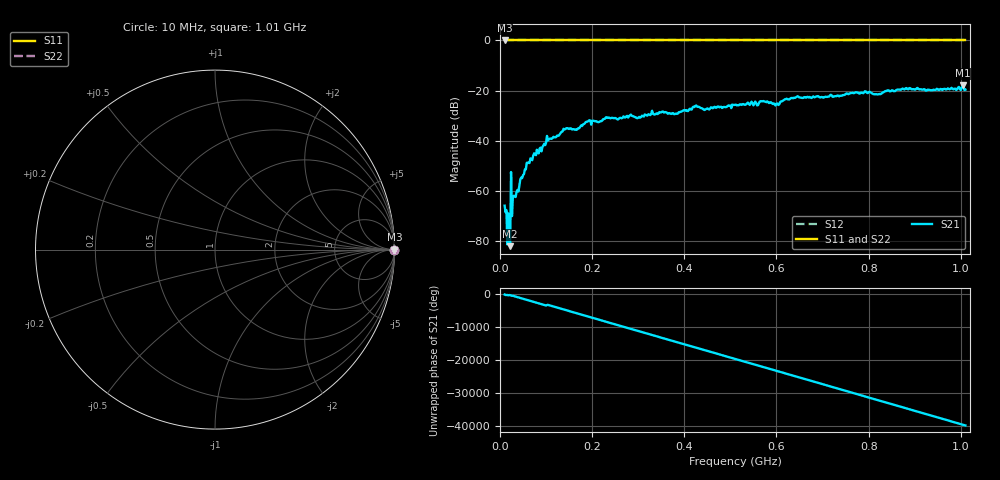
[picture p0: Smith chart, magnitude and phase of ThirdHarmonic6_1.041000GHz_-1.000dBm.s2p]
! 8/16/2025 9:03:05 AM
! C:\ANRITSUVNA\TEMP\TEMP.S2P
! CHANNEL.1
! TR.MEASUREMENT
! RAW.DATA
! RF.CORRECTION.OFF
! AVERAGING.OFF
! IF.BANDWIDTH: 5KHZ
! SWEEPTYPE:  FREQ.SWEEP(Linear)
! Reference Plane Port Info
! PORT:  PORT1  PORT2
! DISTANCE:  0  m  0  m
! TIME:  0  s  0  s
! PHASE.OFFSET:  0  deg.  0  deg.
! LOSS:  0  dB  0  dB
! REF.LOSS:  0  dB  0  dB
! REF.FREQ:  0  Hz  0  Hz
! Power Info
! POWER:  -20  dBm  -20  dBm
! EFF.POWER:  -20  dBm  -20  dBm
! SOURCE.ATTEN:  0  dB  0  dB
! TEST.ATTEN:  0  dB  0  dB
# GHZ S RI R 50.0
! FREQ.GHZ  S11RE  S11IM  S21RE  S21IM  S12RE  S12IM  S22RE  S22IM
!; PortSelection: Port_12
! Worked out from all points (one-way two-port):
!   501 points, 10 MHz to 1.01 GHz, reference 50 ohm
!   highest |S21| = -17.93 dB at 1.004 GHz (marker M1); lowest = -82.0 dB at 22 MHz (marker M2)
!   lowest |S11| = 0.0 dB at 10 MHz (marker M3)
!   |S11| at or under -10 dB: nowhere
!   |S22| runs from 0.0 to 0.0 dB; largest |S21 - S12| = 1.1
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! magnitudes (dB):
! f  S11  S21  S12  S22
! 10 MHz  0.0  -65.8  0.0  0.0
! 18 MHz  0.0  -68.9  0.0  0.0
! 22 MHz  0.0  -82.0  0.0  0.0
! 24 MHz  0.0  -52.4  0.0  0.0
! 28 MHz  0.0  -62.1  0.0  0.0
! 30 MHz  0.0  -61.9  0.0  0.0
! 58 MHz  0.0  -48.7  0.0  0.0
! 76 MHz  0.0  -45.3  0.0  0.0
! 106 MHz  0.0  -39.4  0.0  0.0
! 142 MHz  0.0  -35.3  0.0  0.0
! 178 MHz  0.0  -34.1  0.0  0.0
! 232 MHz  0.0  -30.6  0.0  0.0
! 300 MHz  0.0  -30.8  0.0  0.0
! 344 MHz  0.0  -29.1  0.0  0.0
! 510 MHz  0.0  -25.6  0.0  0.0
! 568 MHz  0.0  -24.2  0.0  0.0
! 602 MHz  0.0  -25.1  0.0  0.0
! 642 MHz  0.0  -22.7  0.0  0.0
! 678 MHz  0.0  -22.6  0.0  0.0
! 844 MHz  0.0  -19.9  0.0  0.0
! 1.004 GHz  0.0  -17.9  0.0  0.0
! 1.01 GHz  0.0  -19.6  0.0  0.0
